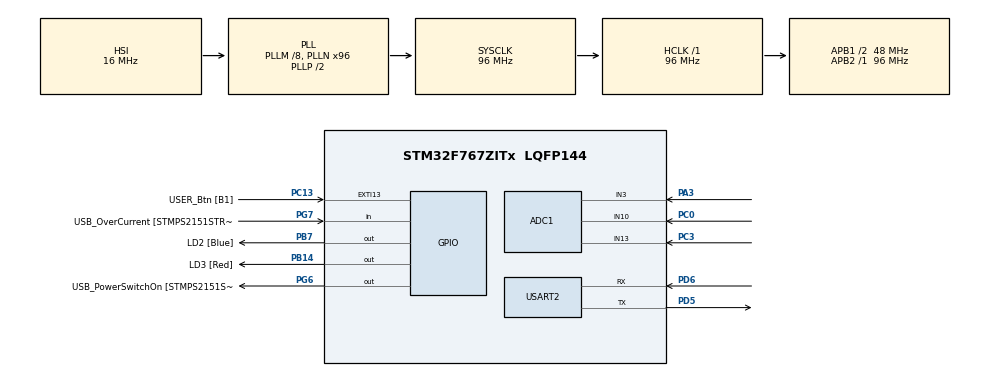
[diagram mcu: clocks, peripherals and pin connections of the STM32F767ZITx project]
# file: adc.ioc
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ADC1.Channel-0\#ChannelRegularConversion=ADC_CHANNEL_3
ADC1.Channel-1\#ChannelRegularConversion=ADC_CHANNEL_10
ADC1.Channel-2\#ChannelRegularConversion=ADC_CHANNEL_13
ADC1.ContinuousConvMode=ENABLE
ADC1.DMAContinuousRequests=ENABLE
ADC1.NbrOfConversion=3
ADC1.NbrOfConversionFlag=1
ADC1.Rank-0\#ChannelRegularConversion=1
ADC1.Rank-1\#ChannelRegularConversion=2
ADC1.Rank-2\#ChannelRegularConversion=3
ADC1.SamplingTime-0\#ChannelRegularConversion=ADC_SAMPLETIME_112CYCLES
ADC1.SamplingTime-1\#ChannelRegularConversion=ADC_SAMPLETIME_112CYCLES
ADC1.SamplingTime-2\#ChannelRegularConversion=ADC_SAMPLETIME_112CYCLES
ADC1.ScanConvMode=ADC_SCAN_ENABLE
ADC1.master=1
Dma.ADC1.0.Direction=DMA_PERIPH_TO_MEMORY
Dma.ADC1.0.FIFOMode=DMA_FIFOMODE_DISABLE
Dma.ADC1.0.Instance=DMA2_Stream0
Dma.ADC1.0.MemDataAlignment=DMA_MDATAALIGN_WORD
Dma.ADC1.0.MemInc=DMA_MINC_ENABLE
Dma.ADC1.0.Mode=DMA_CIRCULAR
Dma.ADC1.0.PeriphDataAlignment=DMA_PDATAALIGN_WORD
Dma.ADC1.0.PeriphInc=DMA_PINC_DISABLE
Dma.ADC1.0.Priority=DMA_PRIORITY_HIGH
Dma.Request0=ADC1
Mcu.Family=STM32F7
Mcu.Name=STM32F767ZITx
Mcu.Package=LQFP144
NVIC.DMA2_Stream0_IRQn=true\:0\:0\:false\:false\:true\:false\:true
NVIC.PriorityGroup=NVIC_PRIORITYGROUP_4
PA13.GPIO_Label=TMS
PA13.Signal=SYS_JTMS-SWDIO
PA14.GPIO_Label=TCK
PA14.Signal=SYS_JTCK-SWCLK
PA3.Signal=ADCx_IN3
PB14.GPIO_Label=LD3 [Red]
PB14.Signal=GPIO_Output
PB3.GPIO_Label=SW0
PB3.Signal=SYS_JTDO-SWO
PB7.GPIO_Label=LD2 [Blue]
PB7.Signal=GPIO_Output
PC0.Signal=ADCx_IN10
PC13.GPIO_Label=USER_Btn [B1]
PC13.Signal=GPXTI13
PC14/OSC32_IN.Signal=RCC_OSC32_IN
PC15/OSC32_OUT.Signal=RCC_OSC32_OUT
PC3.Signal=ADCx_IN13
PD5.Mode=Asynchronous
PD5.Signal=USART2_TX
PD6.Mode=Asynchronous
PD6.Signal=USART2_RX
PD8.GPIO_Label=STLK_RX [STM32F103CBT6_PA3]
PD8.Signal=USART3_TX
PD9.GPIO_Label=STLK_TX [STM32F103CBT6_PA2]
PD9.Signal=USART3_RX
PG6.GPIO_Label=USB_PowerSwitchOn [STMPS2151STR_EN]
PG6.Signal=GPIO_Output
PG7.GPIO_Label=USB_OverCurrent [STMPS2151STR_FAULT]
PG7.Signal=GPIO_Input
PH1/OSC_OUT.Signal=RCC_OSC_OUT
ProjectManager.HeapSize=0x200
ProjectManager.StackSize=0x400
ProjectManager.TargetToolchain=MDK-ARM V5
RCC.48MHZClocksFreq_Value=24000000
RCC.AHBFreq_Value=96000000
RCC.APB1CLKDivider=RCC_HCLK_DIV2
RCC.APB1Freq_Value=48000000
RCC.APB1TimFreq_Value=96000000
RCC.APB2Freq_Value=96000000
RCC.APB2TimFreq_Value=96000000
RCC.CortexFreq_Value=96000000
RCC.HCLKFreq_Value=96000000
RCC.HSE_VALUE=16000000
RCC.HSI_VALUE=16000000
RCC.LSE_VALUE=32768
RCC.PLLM=8
RCC.PLLMUL=RCC_PLL_MUL9
RCC.PLLN=96
RCC.PRESCALERUSB=RCC_USBCLKSOURCE_PLL_DIV1_5
RCC.SYSCLKFreq_VALUE=96000000
RCC.SYSCLKSource=RCC_SYSCLKSOURCE_PLLCLK
RCC.SYSCLKSourceVirtual=RCC_SYSCLKSOURCE_PLLCLK
RCC.USBFreq_Value=96000000
RCC.VCOOutputFreq_Value=192000000
SH.ADCx_IN10.0=ADC1_IN10,IN10
SH.ADCx_IN13.0=ADC1_IN13,IN13
SH.ADCx_IN3.0=ADC1_IN3,IN3
USART2.VirtualMode-Asynchronous=VM_ASYNC
board=NUCLEO-F767ZI

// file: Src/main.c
/* USER CODE BEGIN Header */
/**
  ******************************************************************************
  * @file           : main.c
  * @brief          : Main program body
  ******************************************************************************
  * @attention
  *
  * <h2><center>&copy; Copyright (c) 2019 STMicroelectronics.
  * All rights reserved.</center></h2>
  *
  * This software component is licensed by ST under BSD 3-Clause license,
  * the "License"; You may not use this file except in compliance with the
  * License. You may obtain a copy of the License at:
  *                        opensource.org/licenses/BSD-3-Clause
  *
  ******************************************************************************
  */
/* USER CODE END Header */

#include "main.h"

/* USER CODE BEGIN Includes */
#include "string.h"
#include "stdio.h"
#include "stdlib.h"
#include "stdarg.h"
/* USER CODE END Includes */

ADC_HandleTypeDef hadc1;
DMA_HandleTypeDef hdma_adc1;

UART_HandleTypeDef huart2;

void SystemClock_Config(void);
static void MX_GPIO_Init(void);
static void MX_DMA_Init(void);
static void MX_USART2_UART_Init(void);
static void MX_ADC1_Init(void);

/* USER CODE BEGIN 0 */
uint16_t adc_buffer[15];
uint32_t d1 = 0,d2 = 0,d3 = 0,t = 0;

void UART_Printf(const char* fmt, ...) {
	char buff[256];
	va_list args;
	va_start(args, fmt);
	vsnprintf(buff, sizeof(buff), fmt, args);
	HAL_UART_Transmit(&huart2, (uint8_t*)buff, strlen(buff), HAL_MAX_DELAY);
	va_end(args);
}

void HAL_ADC_ConvCpltCallback(ADC_HandleTypeDef* hadc)
{
	d1 += adc_buffer[0];
	d2 += adc_buffer[2];
	d3 += adc_buffer[4];
	t++;
	if(t==5000)
	{
		d1 /= 5000;
		d2 /= 5000;
		d3 /= 5000;
		UART_Printf("%.2f %.2f %.2f\r\n", (d1*3.3)/4096*100, (d2*3.3)/4096*100, (d3*3.3)/4096*100);
		t = 0;
	}

}
/* USER CODE END 0 */

int main(void)
{

  /* MCU Configuration--------------------------------------------------------*/

  /* Reset of all peripherals, Initializes the Flash interface and the Systick. */
  HAL_Init();

  /* Configure the system clock */
  SystemClock_Config();

  /* Initialize all configured peripherals */
  MX_GPIO_Init();
  MX_DMA_Init();
  MX_USART2_UART_Init();
  MX_ADC1_Init();
  /* USER CODE BEGIN 2 */
	UART_Printf("Ready\r\n");
	HAL_ADC_Start_DMA(&hadc1,(uint32_t *)adc_buffer,3);
  /* USER CODE END 2 */

  /* Infinite loop */
  while (1)
  {

    /* USER CODE BEGIN 3 */
		HAL_Delay(100);
		HAL_GPIO_TogglePin(LD3_GPIO_Port, LD3_Pin);
  }
  /* USER CODE END 3 */
}

void SystemClock_Config(void)
{
  RCC_OscInitTypeDef RCC_OscInitStruct = {0};
  RCC_ClkInitTypeDef RCC_ClkInitStruct = {0};
  RCC_PeriphCLKInitTypeDef PeriphClkInitStruct = {0};

  /** Configure the main internal regulator output voltage
  */
  __HAL_RCC_PWR_CLK_ENABLE();
  __HAL_PWR_VOLTAGESCALING_CONFIG(PWR_REGULATOR_VOLTAGE_SCALE3);
  /** Initializes the CPU, AHB and APB busses clocks
  */
  RCC_OscInitStruct.OscillatorType = RCC_OSCILLATORTYPE_HSI;
  RCC_OscInitStruct.HSIState = RCC_HSI_ON;
  RCC_OscInitStruct.HSICalibrationValue = RCC_HSICALIBRATION_DEFAULT;
  RCC_OscInitStruct.PLL.PLLState = RCC_PLL_ON;
  RCC_OscInitStruct.PLL.PLLSource = RCC_PLLSOURCE_HSI;
  RCC_OscInitStruct.PLL.PLLM = 8;
  RCC_OscInitStruct.PLL.PLLN = 96;
  RCC_OscInitStruct.PLL.PLLP = RCC_PLLP_DIV2;
  RCC_OscInitStruct.PLL.PLLQ = 2;
  if (HAL_RCC_OscConfig(&RCC_OscInitStruct) != HAL_OK)
  {
    Error_Handler();
  }
  /** Activate the Over-Drive mode
  */
  if (HAL_PWREx_EnableOverDrive() != HAL_OK)
  {
    Error_Handler();
  }
  /** Initializes the CPU, AHB and APB busses clocks
  */
  RCC_ClkInitStruct.ClockType = RCC_CLOCKTYPE_HCLK|RCC_CLOCKTYPE_SYSCLK
                              |RCC_CLOCKTYPE_PCLK1|RCC_CLOCKTYPE_PCLK2;
  RCC_ClkInitStruct.SYSCLKSource = RCC_SYSCLKSOURCE_PLLCLK;
  RCC_ClkInitStruct.AHBCLKDivider = RCC_SYSCLK_DIV1;
  RCC_ClkInitStruct.APB1CLKDivider = RCC_HCLK_DIV2;
  RCC_ClkInitStruct.APB2CLKDivider = RCC_HCLK_DIV1;

  if (HAL_RCC_ClockConfig(&RCC_ClkInitStruct, FLASH_LATENCY_3) != HAL_OK)
  {
    Error_Handler();
  }
  PeriphClkInitStruct.PeriphClockSelection = RCC_PERIPHCLK_USART2;
  PeriphClkInitStruct.Usart2ClockSelection = RCC_USART2CLKSOURCE_PCLK1;
  if (HAL_RCCEx_PeriphCLKConfig(&PeriphClkInitStruct) != HAL_OK)
  {
    Error_Handler();
  }
}

static void MX_ADC1_Init(void)
{

  ADC_ChannelConfTypeDef sConfig = {0};

  /** Configure the global features of the ADC (Clock, Resolution, Data Alignment and number of conversion)
  */
  hadc1.Instance = ADC1;
  hadc1.Init.ClockPrescaler = ADC_CLOCK_SYNC_PCLK_DIV4;
  hadc1.Init.Resolution = ADC_RESOLUTION_12B;
  hadc1.Init.ScanConvMode = ADC_SCAN_ENABLE;
  hadc1.Init.ContinuousConvMode = ENABLE;
  hadc1.Init.DiscontinuousConvMode = DISABLE;
  hadc1.Init.ExternalTrigConvEdge = ADC_EXTERNALTRIGCONVEDGE_NONE;
  hadc1.Init.ExternalTrigConv = ADC_SOFTWARE_START;
  hadc1.Init.DataAlign = ADC_DATAALIGN_RIGHT;
  hadc1.Init.NbrOfConversion = 3;
  hadc1.Init.DMAContinuousRequests = ENABLE;
  hadc1.Init.EOCSelection = ADC_EOC_SINGLE_CONV;
  if (HAL_ADC_Init(&hadc1) != HAL_OK)
  {
    Error_Handler();
  }
  /** Configure for the selected ADC regular channel its corresponding rank in the sequencer and its sample time.
  */
  sConfig.Channel = ADC_CHANNEL_3;
  sConfig.Rank = ADC_REGULAR_RANK_1;
  sConfig.SamplingTime = ADC_SAMPLETIME_480CYCLES;
  if (HAL_ADC_ConfigChannel(&hadc1, &sConfig) != HAL_OK)
  {
    Error_Handler();
  }
  /** Configure for the selected ADC regular channel its corresponding rank in the sequencer and its sample time.
  */
  sConfig.Channel = ADC_CHANNEL_10;
  sConfig.Rank = ADC_REGULAR_RANK_2;
  if (HAL_ADC_ConfigChannel(&hadc1, &sConfig) != HAL_OK)
  {
    Error_Handler();
  }
  /** Configure for the selected ADC regular channel its corresponding rank in the sequencer and its sample time.
  */
  sConfig.Channel = ADC_CHANNEL_13;
  sConfig.Rank = ADC_REGULAR_RANK_3;
  if (HAL_ADC_ConfigChannel(&hadc1, &sConfig) != HAL_OK)
  {
    Error_Handler();
  }

}

static void MX_USART2_UART_Init(void)
{

  huart2.Instance = USART2;
  huart2.Init.BaudRate = 115200;
  huart2.Init.WordLength = UART_WORDLENGTH_8B;
  huart2.Init.StopBits = UART_STOPBITS_1;
  huart2.Init.Parity = UART_PARITY_NONE;
  huart2.Init.Mode = UART_MODE_TX_RX;
  huart2.Init.HwFlowCtl = UART_HWCONTROL_NONE;
  huart2.Init.OverSampling = UART_OVERSAMPLING_16;
  huart2.Init.OneBitSampling = UART_ONE_BIT_SAMPLE_DISABLE;
  huart2.AdvancedInit.AdvFeatureInit = UART_ADVFEATURE_NO_INIT;
  if (HAL_UART_Init(&huart2) != HAL_OK)
  {
    Error_Handler();
  }

}

static void MX_DMA_Init(void)
{

  /* DMA controller clock enable */
  __HAL_RCC_DMA2_CLK_ENABLE();

  /* DMA interrupt init */
  /* DMA2_Stream0_IRQn interrupt configuration */
  HAL_NVIC_SetPriority(DMA2_Stream0_IRQn, 0, 0);
  HAL_NVIC_EnableIRQ(DMA2_Stream0_IRQn);

}

static void MX_GPIO_Init(void)
{
  GPIO_InitTypeDef GPIO_InitStruct = {0};

  /* GPIO Ports Clock Enable */
  __HAL_RCC_GPIOC_CLK_ENABLE();
  __HAL_RCC_GPIOH_CLK_ENABLE();
  __HAL_RCC_GPIOA_CLK_ENABLE();
  __HAL_RCC_GPIOB_CLK_ENABLE();
  __HAL_RCC_GPIOD_CLK_ENABLE();
  __HAL_RCC_GPIOG_CLK_ENABLE();

  /*Configure GPIO pin Output Level */
  HAL_GPIO_WritePin(GPIOB, LD3_Pin|LD2_Pin, GPIO_PIN_RESET);

  /*Configure GPIO pin Output Level */
  HAL_GPIO_WritePin(USB_PowerSwitchOn_GPIO_Port, USB_PowerSwitchOn_Pin, GPIO_PIN_RESET);

  /*Configure GPIO pin : USER_Btn_Pin */
  GPIO_InitStruct.Pin = USER_Btn_Pin;
  GPIO_InitStruct.Mode = GPIO_MODE_IT_RISING;
  GPIO_InitStruct.Pull = GPIO_NOPULL;
  HAL_GPIO_Init(USER_Btn_GPIO_Port, &GPIO_InitStruct);

  /*Configure GPIO pins : LD3_Pin LD2_Pin */
  GPIO_InitStruct.Pin = LD3_Pin|LD2_Pin;
  GPIO_InitStruct.Mode = GPIO_MODE_OUTPUT_PP;
  GPIO_InitStruct.Pull = GPIO_NOPULL;
  GPIO_InitStruct.Speed = GPIO_SPEED_FREQ_LOW;
  HAL_GPIO_Init(GPIOB, &GPIO_InitStruct);

  /*Configure GPIO pins : STLK_RX_Pin STLK_TX_Pin */
  GPIO_InitStruct.Pin = STLK_RX_Pin|STLK_TX_Pin;
  GPIO_InitStruct.Mode = GPIO_MODE_AF_PP;
  GPIO_InitStruct.Pull = GPIO_NOPULL;
  GPIO_InitStruct.Speed = GPIO_SPEED_FREQ_VERY_HIGH;
  GPIO_InitStruct.Alternate = GPIO_AF7_USART3;
  HAL_GPIO_Init(GPIOD, &GPIO_InitStruct);

  /*Configure GPIO pin : USB_PowerSwitchOn_Pin */
  GPIO_InitStruct.Pin = USB_PowerSwitchOn_Pin;
  GPIO_InitStruct.Mode = GPIO_MODE_OUTPUT_PP;
  GPIO_InitStruct.Pull = GPIO_NOPULL;
  GPIO_InitStruct.Speed = GPIO_SPEED_FREQ_LOW;
  HAL_GPIO_Init(USB_PowerSwitchOn_GPIO_Port, &GPIO_InitStruct);

  /*Configure GPIO pin : USB_OverCurrent_Pin */
  GPIO_InitStruct.Pin = USB_OverCurrent_Pin;
  GPIO_InitStruct.Mode = GPIO_MODE_INPUT;
  GPIO_InitStruct.Pull = GPIO_NOPULL;
  HAL_GPIO_Init(USB_OverCurrent_GPIO_Port, &GPIO_InitStruct);

}

void Error_Handler(void)
{
}

/************************ (C) COPYRIGHT STMicroelectronics *****END OF FILE****/
